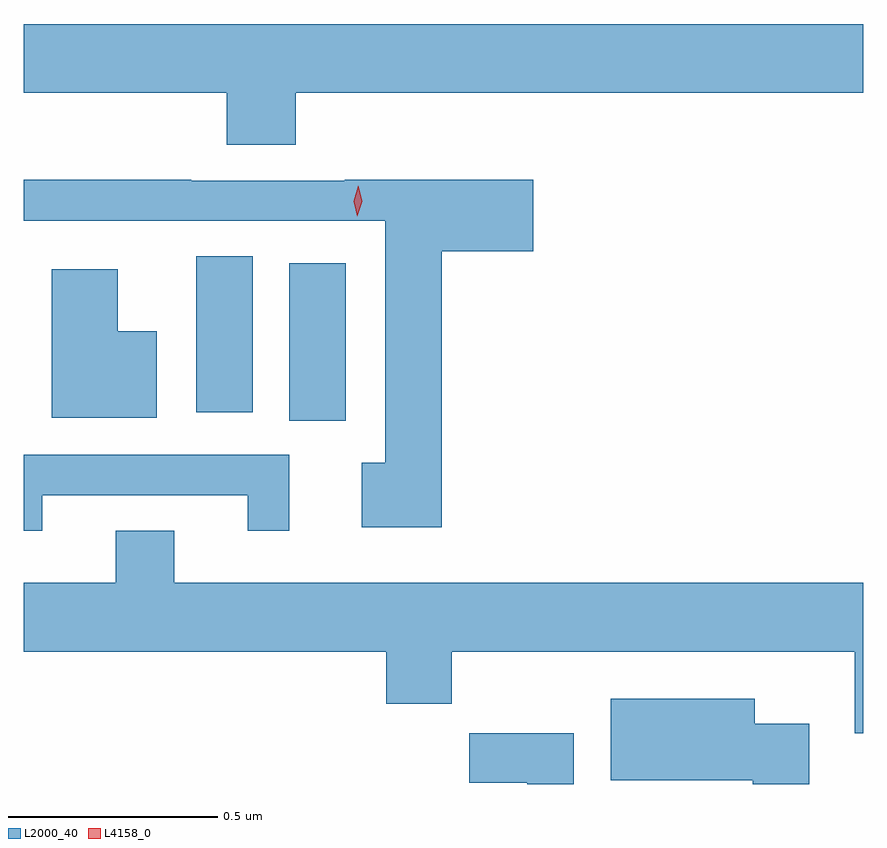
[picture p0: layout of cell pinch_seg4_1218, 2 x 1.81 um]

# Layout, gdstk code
import gdstk
lib = gdstk.Library(unit=1e-6, precision=1e-09)
def R(c, l, rs):  # rectangles x0, y0, x1, y1
    for r in rs: c.add(gdstk.rectangle(r[:2], r[2:], *l))
def P(c, l, *ps):  # polygons
    for p in ps: c.add(gdstk.Polygon(p, *l))
L2000_40 = (2000, 40)
L4158_0 = (4158, 0)

pinch_seg4_1218 = lib.new_cell('pinch_seg4_1218')
R(pinch_seg4_1218, L2000_40, [(545.42,777.39,545.554,777.766), (545.198,777.411,545.332,777.782)])
P(pinch_seg4_1218, L2000_40, [(545.435,778.172),(546.787,778.172),(546.787,778.336),(544.787,778.336),(544.787,778.172),(545.27,778.172),(545.27,778.048),(545.435,778.048)],
  [(545.783,777.794),(546.001,777.794),(546.001,777.965),(545.552,777.965),(545.552,777.963),(545.186,777.963),(545.186,777.965),(544.787,777.965),(544.787,777.867),(545.648,777.867),(545.648,777.29),(545.592,777.29),(545.592,777.137),(545.783,777.137)],
  [(545.104,777.604),(545.011,777.604),(545.011,777.751),(544.853,777.751),(544.853,777.398),(545.104,777.398)],
  [(544.831,777.213),(545.321,777.213),(545.321,777.129),(545.419,777.129),(545.419,777.309),(544.787,777.309),(544.787,777.129),(544.831,777.129)],
  [(546.787,777.004),(545.146,777.004),(545.146,777.128),(545.006,777.128),(545.006,777.004),(544.787,777.004),(544.787,776.84),(545.651,776.84),(545.651,776.716),(545.807,776.716),(545.807,776.84),(546.767,776.84),(546.767,776.646),(546.787,776.646)],
  [(546.658,776.668),(546.529,776.668),(546.529,776.728),(546.185,776.728),(546.185,776.534),(546.524,776.534),(546.524,776.525),(546.658,776.525)],
  [(546.097,776.646),(545.848,776.646),(545.848,776.528),(545.987,776.528),(545.987,776.525),(546.097,776.525)])
P(pinch_seg4_1218, L4158_0, [(545.581,777.878),(545.581,777.878),(545.573,777.914),(545.584,777.95),(545.584,777.95),(545.584,777.95),(545.593,777.914),(545.581,777.878)])

lib.write_gds('pinch_seg4_1218.gds')
